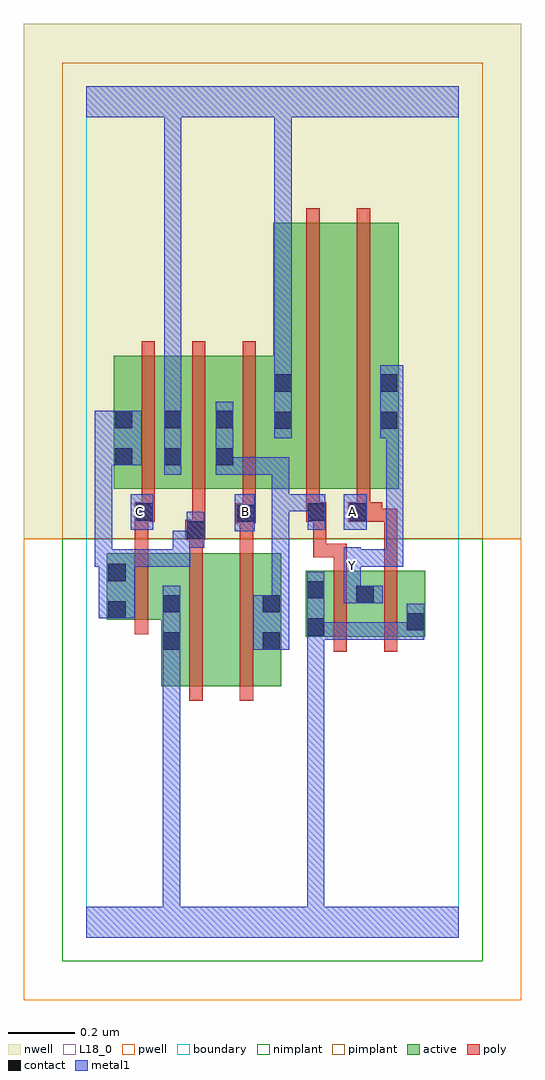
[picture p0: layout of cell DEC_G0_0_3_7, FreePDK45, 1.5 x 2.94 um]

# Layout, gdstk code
import gdstk
lib = gdstk.Library(unit=1e-6, precision=1e-09)
def R(c, l, rs):  # rectangles x0, y0, x1, y1
    for r in rs: c.add(gdstk.rectangle(r[:2], r[2:], *l))
def A(c, l, x, y, w, h, nx, ny, dx, dy):  # array of equal rectangles
    R(c, l, [(x+i*dx, y+j*dy, x+i*dx+w, y+j*dy+h) for i in range(nx) for j in range(ny)])
active = (1, 0)
pwell = (2, 0)
nwell = (3, 0)
nimplant = (4, 0)
pimplant = (5, 0)
poly = (9, 0)
contact = (10, 0)
metal1 = (11, 0)
L18_0 = (18, 0)
boundary = (235, 0)

dec_g0_0_3_7 = lib.new_cell('DEC_G0_0_3_7')
R(dec_g0_0_3_7, active, [(0.226,0.756,0.286,1.156), (0.226,0.756,0.406,1.156), (0.406,0.756,0.586,1.156), (0.526,0.756,0.586,1.156), (0.66,0.904,0.72,1.104), (0.66,0.904,0.868,1.104), (0.808,0.904,1.02,1.104), (0.808,0.904,0.868,1.062), (0.96,0.904,1.02,1.104), (0.062,0.956,0.122,1.156), (0.062,0.956,0.286,1.156), (0.082,1.35,0.142,1.644), (0.082,1.35,0.29,1.75), (0.23,1.35,0.29,1.644), (0.23,1.35,0.446,1.75), (0.386,1.35,0.622,1.75), (0.386,1.35,0.446,1.644), (0.562,1.35,0.758,2.15), (0.562,1.35,0.622,1.778), (0.758,1.35,0.94,2.15), (0.88,1.35,0.94,2.044)])
R(dec_g0_0_3_7, pwell, [(-0.188,-0.188,1.308,1.2)])
R(dec_g0_0_3_7, nwell, [(-0.188,1.2,1.308,2.748)])
R(dec_g0_0_3_7, nimplant, [(-0.072,-0.072,1.192,1.2)])
R(dec_g0_0_3_7, pimplant, [(-0.072,1.2,1.192,2.632)])
A(dec_g0_0_3_7, poly, 0.166, 1.306, 0.04, 0.488, 3, 1, 0.152, 0)
R(dec_g0_0_3_7, poly, [(0.31,0.712,0.35,1.2), (0.462,0.712,0.502,1.2), (0.744,0.86,0.784,1.148), (0.896,0.86,0.936,1.148), (0.146,0.912,0.186,1.2), (0.744,1.108,0.784,1.184), (0.896,1.108,0.936,1.29), (0.682,1.144,0.722,1.29), (0.682,1.144,0.784,1.184), (0.146,1.16,0.186,1.29), (0.31,1.16,0.35,1.236), (0.462,1.16,0.502,1.286), (0.298,1.196,0.358,1.256), (0.318,1.216,0.358,1.256), (0.318,1.216,0.358,1.256), (0.318,1.216,0.358,1.346), (0.45,1.246,0.51,1.306), (0.146,1.25,0.186,1.29), (0.146,1.25,0.186,1.29), (0.146,1.25,0.206,1.31), (0.662,1.25,0.722,1.31), (0.788,1.25,0.89,1.31), (0.85,1.25,0.89,1.29), (0.85,1.25,0.936,1.29), (0.47,1.266,0.51,1.306), (0.47,1.266,0.51,1.306), (0.47,1.266,0.51,1.346), (0.166,1.27,0.206,1.346), (0.662,1.27,0.702,1.346), (0.814,1.27,0.854,1.346), (0.662,1.306,0.702,2.194), (0.814,1.306,0.854,2.194)])
R(dec_g0_0_3_7, contact, [(0.23,0.866,0.282,0.918), (0.53,0.866,0.582,0.918), (0.664,0.908,0.716,0.96), (0.964,0.924,1.016,0.976), (0.066,0.96,0.118,1.012), (0.23,0.978,0.282,1.03), (0.53,0.978,0.582,1.03), (0.812,1.006,0.864,1.058), (0.664,1.02,0.716,1.072), (0.066,1.072,0.118,1.124), (0.302,1.2,0.354,1.252), (0.454,1.25,0.506,1.302), (0.15,1.254,0.202,1.306), (0.666,1.254,0.718,1.306), (0.792,1.254,0.844,1.306), (0.086,1.42,0.138,1.472), (0.234,1.42,0.286,1.472), (0.39,1.42,0.442,1.472), (0.566,1.53,0.618,1.582), (0.884,1.53,0.936,1.582), (0.086,1.532,0.138,1.584), (0.234,1.532,0.286,1.584), (0.39,1.532,0.442,1.584), (0.566,1.642,0.618,1.694), (0.884,1.642,0.936,1.694)])
R(dec_g0_0_3_7, metal1, [(0,0,1.12,0.092), (0.23,0.04,0.282,0.092), (0.23,0.04,0.282,0.092), (0.23,0.04,0.282,0.89), (0.664,0.04,0.716,0.092), (0.664,0.04,0.716,0.092), (0.664,0.04,0.716,0.092), (0.664,0.04,0.716,0.092), (0.664,0.04,0.716,0.092), (0.664,0.04,0.716,0.092), (0.664,0.04,0.716,0.092), (0.664,0.04,0.716,0.092), (0.664,0.04,0.716,0.092), (0.664,0.04,0.716,0.092), (0.664,0.04,0.716,0.092), (0.664,0.04,0.716,0.092), (0.664,0.04,0.716,0.092), (0.664,0.04,0.716,0.092), (0.664,0.04,0.716,0.092), (0.664,0.04,0.716,0.092), (0.664,0.04,0.716,0.932), (0.23,0.838,0.282,0.89), (0.23,0.838,0.282,0.89), (0.23,0.838,0.282,0.89), (0.23,0.838,0.282,0.89), (0.23,0.838,0.282,0.89), (0.23,0.838,0.282,0.89), (0.23,0.838,0.282,0.89), (0.23,0.838,0.282,0.89), (0.23,0.838,0.282,0.89), (0.23,0.838,0.282,0.89), (0.23,0.838,0.282,1.058), (0.502,0.866,0.61,1.03), (0.664,0.88,0.716,1.1), (0.664,0.896,0.718,0.948), (0.666,0.896,0.718,0.948), (0.666,0.896,0.826,0.948), (0.774,0.896,0.826,0.948), (0.774,0.896,1.016,0.948), (0.964,0.896,1.016,0.948), (0.964,0.896,1.016,0.948), (0.964,0.896,1.016,1.004), (0.038,0.96,0.146,1.124), (0.558,0.978,0.61,1.03), (0.558,0.978,0.61,1.03), (0.558,0.978,0.61,1.334), (0.774,1.006,0.826,1.118), (0.774,1.006,0.892,1.058), (0.774,1.066,0.826,1.174), (0.038,1.072,0.09,1.168), (0.026,1.116,0.078,1.168), (0.026,1.116,0.078,1.168), (0.026,1.116,0.078,1.472), (0.026,1.116,0.09,1.168), (0.038,1.116,0.09,1.168), (0.038,1.116,0.09,1.168), (0.038,1.116,0.312,1.168), (0.26,1.116,0.312,1.224), (0.774,1.116,0.954,1.168), (0.902,1.116,0.954,1.168), (0.902,1.116,0.954,1.168), (0.902,1.116,0.954,1.168), (0.902,1.116,0.954,1.554), (0.26,1.172,0.354,1.224), (0.302,1.172,0.354,1.28), (0.446,1.222,0.506,1.334), (0.134,1.226,0.202,1.334), (0.666,1.226,0.718,1.334), (0.774,1.226,0.844,1.334), (0.558,1.282,0.61,1.334), (0.558,1.282,0.716,1.334), (0.558,1.282,0.61,1.444), (0.664,1.282,0.716,1.334), (0.664,1.282,0.718,1.334), (0.234,1.392,0.286,1.612), (0.39,1.392,0.442,1.444), (0.39,1.392,0.442,1.444), (0.39,1.392,0.442,1.612), (0.39,1.392,0.61,1.444), (0.558,1.392,0.61,1.444), (0.026,1.42,0.166,1.584), (0.566,1.502,0.618,1.722), (0.884,1.502,0.954,1.722), (0.902,1.502,0.954,1.554), (0.902,1.502,0.954,1.554), (0.234,1.56,0.286,1.612), (0.234,1.56,0.286,1.612), (0.234,1.56,0.286,1.612), (0.234,1.56,0.286,1.612), (0.234,1.56,0.286,1.612), (0.234,1.56,0.286,1.612), (0.234,1.56,0.286,1.612), (0.234,1.56,0.286,1.612), (0.234,1.56,0.286,1.612), (0.234,1.56,0.286,1.612), (0.234,1.56,0.286,1.612), (0.234,1.56,0.286,1.612), (0.234,1.56,0.286,1.612), (0.234,1.56,0.286,1.612), (0.234,1.56,0.286,2.52), (0.566,1.67,0.618,1.722), (0.566,1.67,0.618,1.722), (0.566,1.67,0.618,1.722), (0.566,1.67,0.618,1.722), (0.566,1.67,0.618,1.722), (0.566,1.67,0.618,1.722), (0.566,1.67,0.618,1.722), (0.566,1.67,0.618,1.722), (0.566,1.67,0.618,2.52), (0,2.468,1.12,2.56), (0.234,2.468,0.286,2.52), (0.234,2.468,0.286,2.52)])
A(dec_g0_0_3_7, L18_0, 0.134, 1.254, 0.052, 0.052, 3, 1, 0.32, 0)
R(dec_g0_0_3_7, L18_0, [(0,0,1.12,0.092), (0.23,0.04,0.282,0.092), (0.23,0.04,0.282,0.092), (0.23,0.04,0.282,0.89), (0.664,0.04,0.716,0.092), (0.664,0.04,0.716,0.092), (0.664,0.04,0.716,0.092), (0.664,0.04,0.716,0.092), (0.664,0.04,0.716,0.092), (0.664,0.04,0.716,0.092), (0.664,0.04,0.716,0.092), (0.664,0.04,0.716,0.092), (0.664,0.04,0.716,0.092), (0.664,0.04,0.716,0.092), (0.664,0.04,0.716,0.092), (0.664,0.04,0.716,0.092), (0.664,0.04,0.716,0.092), (0.664,0.04,0.716,0.092), (0.664,0.04,0.716,0.092), (0.664,0.04,0.716,0.092), (0.664,0.04,0.716,0.932), (0.23,0.838,0.282,0.89), (0.23,0.838,0.282,0.89), (0.23,0.838,0.282,0.89), (0.23,0.838,0.282,0.89), (0.23,0.838,0.282,0.89), (0.23,0.838,0.282,0.89), (0.23,0.838,0.282,0.89), (0.23,0.838,0.282,0.89), (0.23,0.838,0.282,0.89), (0.23,0.838,0.282,0.89), (0.23,0.838,0.282,1.058), (0.664,0.88,0.716,1.1), (0.664,0.896,0.718,0.948), (0.666,0.896,0.718,0.948), (0.666,0.896,0.826,0.948), (0.774,0.896,0.826,0.948), (0.774,0.896,1.016,0.948), (0.964,0.896,1.016,0.948), (0.964,0.896,1.016,0.948), (0.964,0.896,1.016,1.004), (0.774,1.006,0.892,1.058), (0.774,1.006,0.826,1.118), (0.774,1.066,0.826,1.174), (0.774,1.094,0.826,1.146), (0.774,1.116,0.954,1.168), (0.902,1.116,0.954,1.168), (0.902,1.116,0.954,1.168), (0.902,1.116,0.954,1.168), (0.902,1.116,0.954,1.554), (0.446,1.222,0.506,1.334), (0.134,1.226,0.202,1.334), (0.774,1.226,0.844,1.334), (0.234,1.392,0.286,1.612), (0.566,1.502,0.618,1.722), (0.884,1.502,0.954,1.722), (0.902,1.502,0.954,1.554), (0.902,1.502,0.954,1.554), (0.234,1.56,0.286,1.612), (0.234,1.56,0.286,1.612), (0.234,1.56,0.286,1.612), (0.234,1.56,0.286,1.612), (0.234,1.56,0.286,1.612), (0.234,1.56,0.286,1.612), (0.234,1.56,0.286,1.612), (0.234,1.56,0.286,1.612), (0.234,1.56,0.286,1.612), (0.234,1.56,0.286,1.612), (0.234,1.56,0.286,1.612), (0.234,1.56,0.286,1.612), (0.234,1.56,0.286,1.612), (0.234,1.56,0.286,1.612), (0.234,1.56,0.286,2.52), (0.566,1.67,0.618,1.722), (0.566,1.67,0.618,1.722), (0.566,1.67,0.618,1.722), (0.566,1.67,0.618,1.722), (0.566,1.67,0.618,1.722), (0.566,1.67,0.618,1.722), (0.566,1.67,0.618,1.722), (0.566,1.67,0.618,1.722), (0.566,1.67,0.618,2.52), (0,2.468,1.12,2.56), (0.234,2.468,0.286,2.52), (0.234,2.468,0.286,2.52)])
R(dec_g0_0_3_7, boundary, [(0,0,1.12,2.56)])
dec_g0_0_3_7.add(gdstk.Label('A', (0.8,1.28), layer=11, texttype=0))
dec_g0_0_3_7.add(gdstk.Label('B', (0.48,1.28), layer=11, texttype=0))
dec_g0_0_3_7.add(gdstk.Label('C', (0.16,1.28), layer=11, texttype=0))
dec_g0_0_3_7.add(gdstk.Label('Y', (0.8,1.12), layer=11, texttype=0))

lib.write_gds('DEC_G0_0_3_7.gds')
